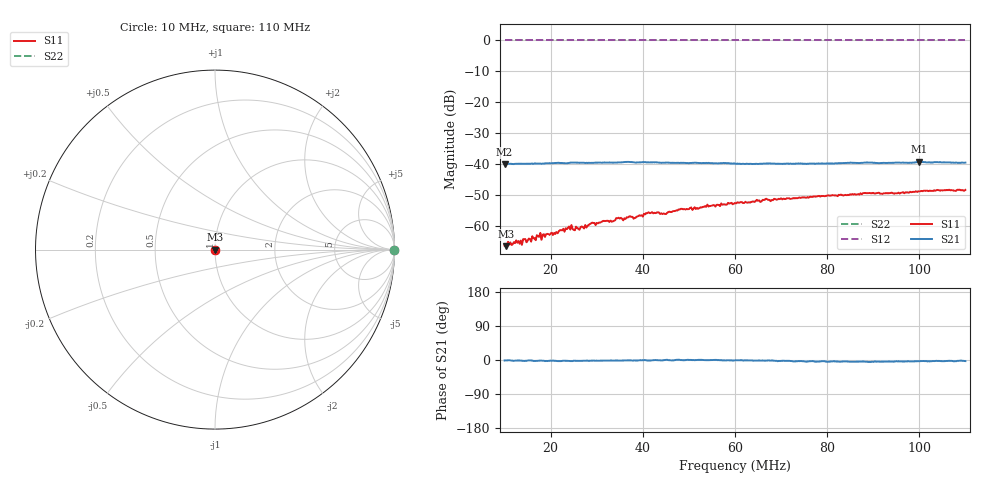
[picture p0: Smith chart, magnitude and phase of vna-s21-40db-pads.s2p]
! Anritsu VNA Master:  Model: MS2034B/10/19/501
! SN:  1337062
! /bd0/ovro-jan-2016/vna-s21-40db-pads.s2p
! Existing Calibration Information:
! TYPE:  Current Settings,  Active Cal Settings
! TIME:  01/08/2016 03:32:58 PM,  01/08/2016 03:31:26 PM
! INTERNAL TEMP:  41.3 C,  41.3 C
! # POINTS:  401,  401
! START FREQ:  10.000 MHz,  10.000 MHz
! STOP FREQ:  110.000 MHz,  110.000 MHz
! SOURCE POWER:  High,  High
! IFBW:  100 Hz,  100 Hz
! AVG FACTOR:  1 ,  1
! REF PLANE 1:  0 mm,  0 mm
! REF PLANE 2:  0 mm,  0 mm
! CAL TYPE:  1P2P S11,S21,  1P2P S11,S21
! CAL METHOD:  SOLT,  SOLT
! CAL LINE TYPE:  Coax,  Coax
! DUT PORT 1:  K-Conn(M),  K-Conn(M)
! DUT PORT 2:  N-Conn(M),  N-Conn(M)
! CAL STATUS:  OK: Accuracy High,  --
# GHZ S DB R 50.0
! FREQ.GHZ  S11DB  S11A  S21DB  S21A  S12DB  S12A  S22DB  S22A
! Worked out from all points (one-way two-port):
!   401 points, 10 MHz to 110 MHz, reference 50 ohm
!   highest |S21| = -39.29 dB at 100 MHz (marker M1); lowest = -40.1 dB at 10 MHz (marker M2)
!   lowest |S11| = -66.6 dB at 10.25 MHz (marker M3), VSWR 1.00, Z = 50 - j0.0379 ohm
!   |S11| at or under -10 dB: start of sweep to end of sweep
!   |S22| runs from 0.0 to 0.0 dB; largest |S21 - S12| = 0.99
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0.01  -66.42 -137.0  -40.06 -1.2  0.00 0.0  0.00 0.0
0.01025  -66.60 -125.8  -39.97 -1.1  0.00 0.0  0.00 0.0
0.01525  -64.16 -121.9  -39.91 -1.1  0.00 0.0  0.00 0.0
0.01725  -63.40 -118.5  -39.87 -2.0  0.00 0.0  0.00 0.0
0.021  -62.64 -105.3  -39.68 -2.1  0.00 0.0  0.00 0.0
0.024  -60.23 -107.6  -39.66 -2.5  0.00 0.0  0.00 0.0
0.02675  -60.20 -104.9  -39.56 -2.2  0.00 0.0  0.00 0.0
0.029  -59.00 -103.5  -39.63 -1.7  0.00 0.0  0.00 0.0
0.03325  -58.66 -101.3  -39.55 -1.4  0.00 0.0  0.00 0.0
0.03475  -57.40 -100.3  -39.49 -1.5  0.00 0.0  0.00 0.0
0.03825  -57.48 -103.9  -39.52 -1.4  0.00 0.0  0.00 0.0
0.04075  -55.88 -98.3  -39.46 -0.8  0.00 0.0  0.00 0.0
0.0435  -55.69 -97.3  -39.55 -0.9  0.00 0.0  0.00 0.0
0.04475  -56.13 -99.3  -39.58 -0.1  0.00 0.0  0.00 0.0
0.04825  -54.51 -95.7  -39.60 -0.2  0.00 0.0  0.00 0.0
0.06  -52.63 -94.3  -39.88 -0.8  0.00 0.0  0.00 0.0
0.0665  -51.52 -91.8  -39.88 -1.8  0.00 0.0  0.00 0.0
0.06775  -52.04 -91.2  -39.85 -1.5  0.00 0.0  0.00 0.0
0.07675  -50.63 -86.2  -39.87 -2.9  0.00 0.0  0.00 0.0
0.0935  -49.42 -81.7  -39.63 -4.1  0.00 0.0  0.00 0.0
0.1  -48.87 -81.4  -39.29 -2.8  0.00 0.0  0.00 0.0
0.11  -48.38 -82.0  -39.55 -2.9  0.00 0.0  0.00 0.0
